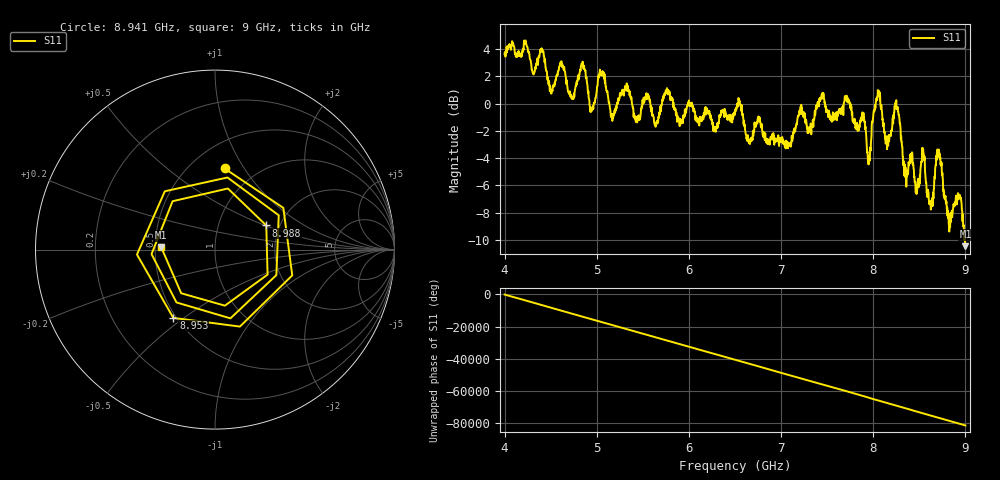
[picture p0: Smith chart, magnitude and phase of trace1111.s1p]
! Created with skrf 1.8.0 (http://scikit-rf.org).
# Hz S RI R 50.0
!freq ReS11 ImS11
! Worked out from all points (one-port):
!   1601 points, 4 GHz to 9 GHz, reference 50 ohm
!   lowest |S11| = -10.5 dB at 9 GHz (marker M1), VSWR 1.86, Z = 26.9 + j0.782 ohm
!   |S11| at or under -10 dB: 8.987941 GHz to 8.98816 GHz (219.2 kHz wide, 0.00244 % of centre); 8.994277 GHz to end of sweep
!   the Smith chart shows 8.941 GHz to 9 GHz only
!   S11 on the Smith chart (normalised r, x): 8.941 GHz: 0.72, +0.82; 8.953 GHz: 0.48, -0.46; 8.988 GHz: 1.70, +0.51; 9 GHz: 0.54, +0.02
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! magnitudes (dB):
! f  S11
! 4 GHz  3.6
! 4.403 GHz  4.1
! 4.512 GHz  0.8
! 4.625 GHz  2.9
! 4.734 GHz  0.4
! 4.853 GHz  2.8
! 4.947 GHz  -0.5
! 5.05 GHz  2.2
! 5.162 GHz  -1.0
! 5.25 GHz  0.7
! 5.875 GHz  -0.9
! 6.5 GHz  -0.5
! 7.125 GHz  -2.6
! 7.438 GHz  0.5
! 7.75 GHz  0.0
! 7.953 GHz  -4.3
! 8.05 GHz  1.0
! 8.153 GHz  -2.9
! 8.256 GHz  -0.2
! 8.375 GHz  -5.2
! 8.541 GHz  -3.3
! 8.628 GHz  -7.6
! 8.709 GHz  -3.8
! 8.822 GHz  -9.0
! 8.941 GHz  -6.8
! 8.953 GHz  -7.0
! 8.988 GHz  -10.0
! 9 GHz  -10.5
